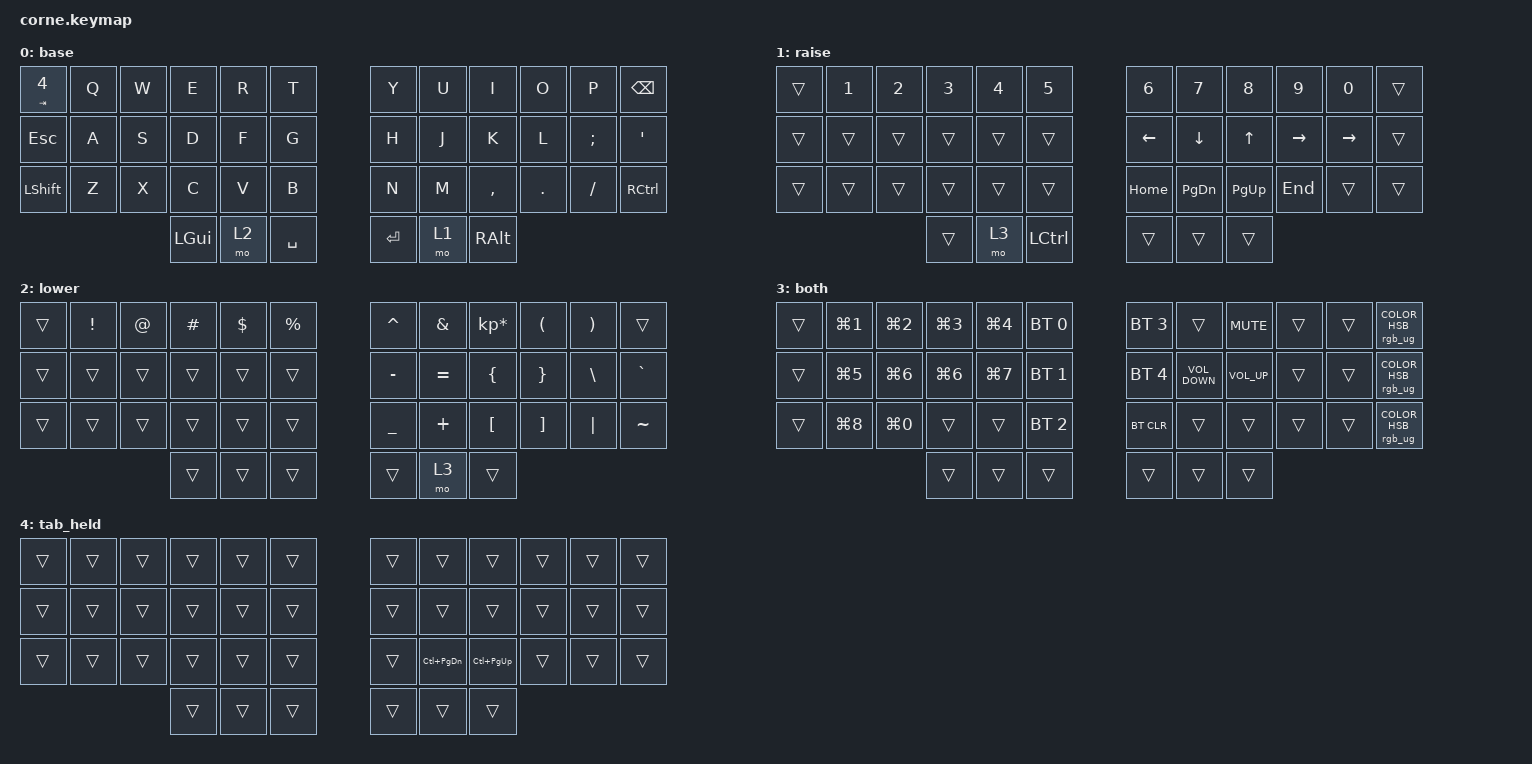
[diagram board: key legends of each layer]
/*
 * Copyright (c) 2020 The ZMK Contributors
 *
 * SPDX-License-Identifier: MIT
 */

#include <behaviors.dtsi>
#include <dt-bindings/zmk/bt.h>
#include <dt-bindings/zmk/keys.h>
#include <dt-bindings/zmk/rgb.h>

// dt-formatter: indent = "  "
// dt-formatter: reindentMultilineIntegerCells = "dedent"

/ {
  behaviors {
    hm: homerow_mods {
      compatible = "zmk,behavior-hold-tap";
      label = "hold layer";
      #binding-cells = <2>;
      tapping-term-ms = <150>;
      quick-tap-ms = <0>;
      flavor = "tap-preferred";
      bindings = <&kp>, <&lt>;
    };
  };

  combos {
    compatible = "zmk,combos";

    tab {
      bindings = <&trans>;
      key-positions = <2 3>;
    };

    ctrl {
      bindings = <&kp LCTRL>;
      key-positions = <26 27>;
    };

    cmd {
      bindings = <&kp LCMD>;
      key-positions = <37 38>;
    };

    alt {
      bindings = <&kp LEFT_ALT>;
      key-positions = <39 40>;
    };

    shift {
      bindings = <&kp LSHIFT>;
      key-positions = <8 9>;
    };

    caps_word {
      bindings = <&caps_word>;
      key-positions = <17 18>;
    };

    delete {
      bindings = <&kp DEL>;
      key-positions = <11 10>;
    };
  };

  macros {
    zed_em_kay: zed_em_kay {
      compatible = "zmk,behavior-macro";
      label = "ZM_zed_em_kay";
      #binding-cells = <0>;
      bindings =
        <&macro_press>,
        <&kp LSHFT>,
        <&macro_tap>,
        <&kp Z &kp M &kp K>,
        <&macro_release>,
        <&kp LSHFT>;
    };
  };

  keymap {
    compatible = "zmk,keymap";

    base {
      bindings = <
&hm TAB 4   &kp Q  &kp W  &kp E     &kp R  &kp T        &kp Y    &kp U  &kp I      &kp O    &kp P          &kp BACKSPACE
&kp ESCAPE  &kp A  &kp S  &kp D     &kp F  &kp G        &kp H    &kp J  &kp K      &kp L    &kp SEMICOLON  &kp APOS
&kp LSHFT   &kp Z  &kp X  &kp C     &kp V  &kp B        &kp N    &kp M  &kp COMMA  &kp DOT  &kp FSLH       &kp RCTRL
                          &kp LGUI  &mo 2  &kp SPACE    &kp RET  &mo 1  &kp RALT
      >;
    };

    raise {
      bindings = <
&trans  &kp N1  &kp N2  &kp N3  &kp N4  &kp N5              &kp N6          &kp N7          &kp N8        &kp N9           &kp N0           &trans
&trans  &trans  &trans  &trans  &trans  &trans              &kp LEFT_ARROW  &kp DOWN_ARROW  &kp UP_ARROW  &kp RIGHT_ARROW  &kp RIGHT_ARROW  &trans
&trans  &trans  &trans  &trans  &trans  &trans              &kp HOME        &kp PAGE_DOWN   &kp PAGE_UP   &kp END          &trans           &trans
                        &trans  &mo 3   &kp LEFT_CONTROL    &trans          &trans          &trans
      >;
    };

    lower {
      bindings = <
&trans  &kp EXCL  &kp AT  &kp HASH  &kp DLLR  &kp PRCNT    &kp CARET  &kp AMPS   &kp KP_MULTIPLY   &kp LEFT_PARENTHESIS  &kp RIGHT_PARENTHESIS  &trans
&trans  &trans    &trans  &trans    &trans    &trans       &kp MINUS  &kp EQUAL  &kp LEFT_BRACE    &kp RIGHT_BRACE       &kp BSLH               &kp GRAVE
&trans  &trans    &trans  &trans    &trans    &trans       &kp UNDER  &kp PLUS   &kp LEFT_BRACKET  &kp RIGHT_BRACKET     &kp PIPE               &kp TILDE
                          &trans    &trans    &trans       &trans     &mo 3      &trans
      >;
    };

    both {
      bindings = <
&trans  &kp LG(N1)  &kp LG(NUMBER_2)  &kp LG(N3)  &kp LG(N4)  &bt BT_SEL 0    &bt BT_SEL 3  &trans             &kp C_MUTE       &trans  &trans  &rgb_ug RGB_COLOR_HSB(0,60,50)
&trans  &kp LG(N5)  &kp LG(N6)        &kp LG(N6)  &kp LG(N7)  &bt BT_SEL 1    &bt BT_SEL 4  &kp C_VOLUME_DOWN  &kp C_VOLUME_UP  &trans  &trans  &rgb_ug RGB_COLOR_HSB(120,60,50)
&trans  &kp LG(N8)  &kp LG(N0)        &trans      &trans      &bt BT_SEL 2    &bt BT_CLR    &trans             &trans           &trans  &trans  &rgb_ug RGB_COLOR_HSB(240,60,50)
                                      &trans      &trans      &trans          &trans        &trans             &trans
      >;
    };

    tab_held {
      bindings = <
&trans  &trans  &trans  &trans  &trans  &trans    &trans  &trans             &trans           &trans  &trans  &trans
&trans  &trans  &trans  &trans  &trans  &trans    &trans  &trans             &trans           &trans  &trans  &trans
&trans  &trans  &trans  &trans  &trans  &trans    &trans  &kp LC(PAGE_DOWN)  &kp LC(PAGE_UP)  &trans  &trans  &trans
                        &trans  &trans  &trans    &trans  &trans             &trans
      >;
    };
  };
};
